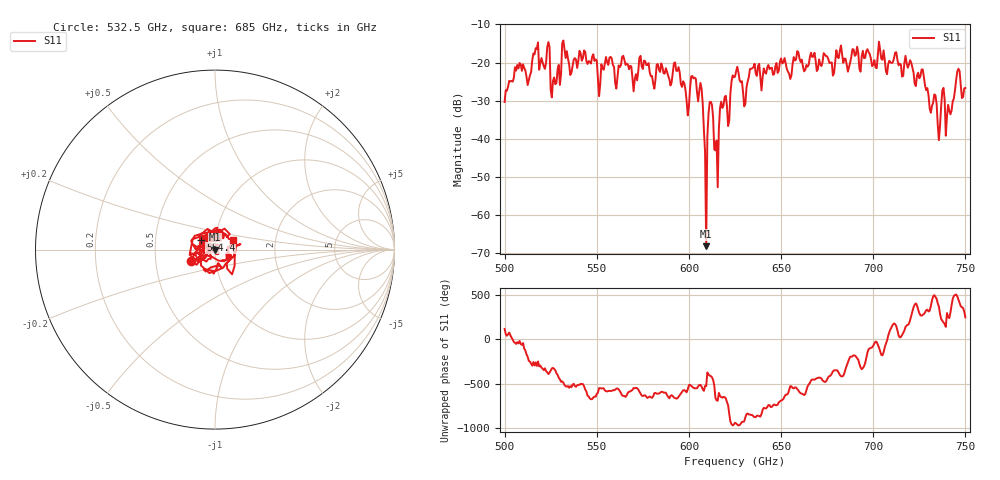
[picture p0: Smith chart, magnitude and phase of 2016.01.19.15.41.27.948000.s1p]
!Created with skrf (http://scikit-rf.org).
# GHz S RI R 50.0
!freq ReS11 ImS11
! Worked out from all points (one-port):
!   401 points, 500 GHz to 750 GHz, reference 50 ohm
!   lowest |S11| = -68.1 dB at 609.4 GHz (marker M1), VSWR 1.00, Z = 50 - j0.00932 ohm
!   |S11| at or under -10 dB: start of sweep to end of sweep
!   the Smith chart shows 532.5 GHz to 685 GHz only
!   S11 on the Smith chart (normalised r, x): 532.5 GHz: 0.75, -0.10; 554.4 GHz: 0.85, +0.09; 685 GHz: 1.21, +0.13
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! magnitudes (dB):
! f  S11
! 500 GHz  -30.3
! 516.9 GHz  -16.2
! 523.1 GHz  -16.0
! 526.2 GHz  -24.8
! 531.2 GHz  -15.0
! 532.5 GHz  -16.4
! 554.4 GHz  -20.3
! 562.5 GHz  -21.2
! 593.8 GHz  -22.2
! 598.8 GHz  -30.0
! 602.5 GHz  -24.2
! 606.2 GHz  -25.3
! 609.4 GHz  -68.1
! 611.9 GHz  -30.3
! 615 GHz  -40.5
! 618.1 GHz  -31.9
! 621.2 GHz  -36.7
! 625 GHz  -23.7
! 630.6 GHz  -30.8
! 634.4 GHz  -21.5
! 656.2 GHz  -20.4
! 685 GHz  -19.0
! 687.5 GHz  -20.0
! 718.8 GHz  -21.4
! 735.6 GHz  -40.3
! 740.6 GHz  -31.1
! 745.6 GHz  -22.3
! 750 GHz  -26.7
